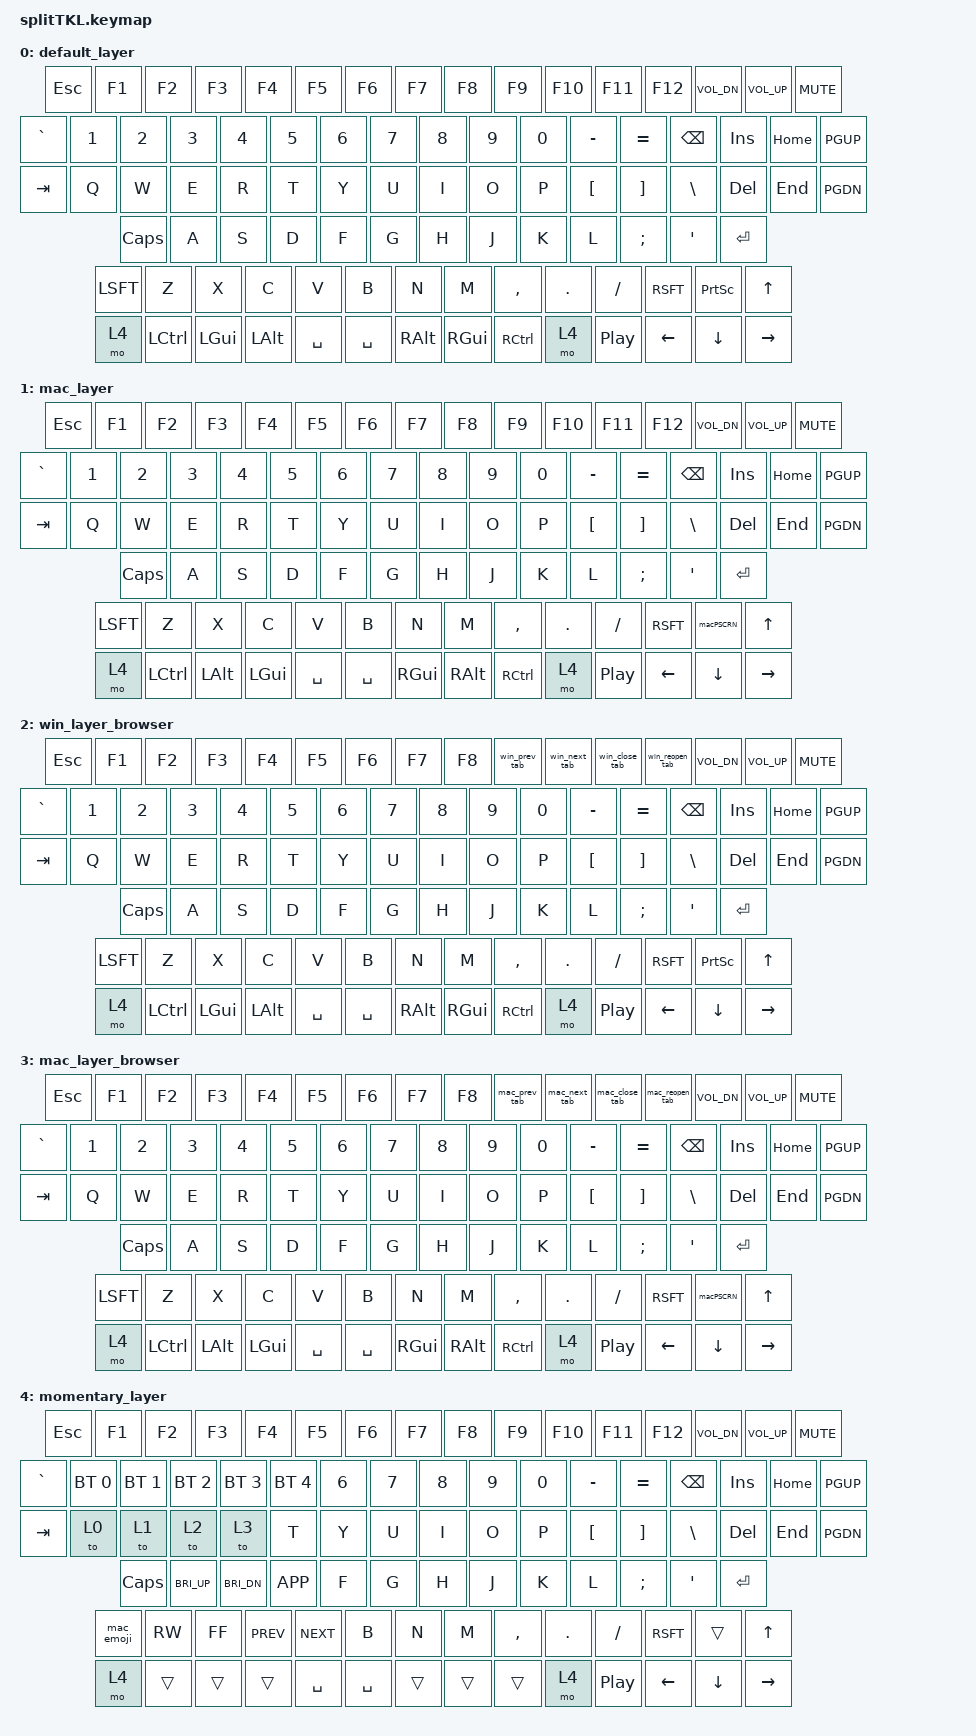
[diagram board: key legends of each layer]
#include <behaviors.dtsi>
#include <dt-bindings/zmk/keys.h>
#include <dt-bindings/zmk/bt.h>

/ {
  macros {
    macPSCRN: macPSCRN {
      compatible = "zmk,behavior-macro";      // Macro behavior
      #binding-cells = <0>;                   // No parameters
      bindings
        = <&macro_press &kp LSHIFT &kp LGUI>
        , <&macro_tap   &kp N3>
        , <&macro_release &kp LSHIFT &kp LGUI>
        ;
    };
    
    mac_emoji: mac_emoji {
      compatible = "zmk,behavior-macro";
      #binding-cells = <0>;
      bindings = 
        <&macro_press   &kp LCTRL  &kp LGUI>
        , <&macro_tap     &kp SPACE>
        , <&macro_release &kp LCTRL  &kp LGUI>
        ;
    };

    mac_prev_tab: mac_prev_tab {
      compatible = "zmk,behavior-macro";
      #binding-cells = <0>;
      bindings = 
        <&macro_press    &kp LGUI  &kp LSFT>
        , <&macro_tap      &kp LBKT>
        , <&macro_release  &kp LSFT  &kp LGUI>
        ;
    };

    mac_next_tab: mac_next_tab {
      compatible = "zmk,behavior-macro";
      #binding-cells = <0>;
      bindings = 
        <&macro_press    &kp LGUI  &kp LSFT>
        , <&macro_tap      &kp RBKT>
        , <&macro_release  &kp LSFT  &kp LGUI>
        ;
    };

    mac_close_tab: mac_close_tab {
      compatible = "zmk,behavior-macro";
      #binding-cells = <0>;
      bindings = 
        <&macro_press    &kp LGUI>
        , <&macro_tap      &kp W>
        , <&macro_release  &kp LGUI>
        ;
    };

    mac_reopen_tab: mac_reopen_tab {
      compatible = "zmk,behavior-macro";
      #binding-cells = <0>;
      bindings = 
        <&macro_press    &kp LGUI  &kp LSFT>
        , <&macro_tap      &kp T>
        , <&macro_release  &kp LSFT  &kp LGUI>
        ;
    };

    win_prev_tab: win_prev_tab {
      compatible = "zmk,behavior-macro";
      #binding-cells = <0>;
      bindings =
        <&macro_press    &kp LCTRL &kp LSFT>
        , <&macro_tap      &kp TAB>
        , <&macro_release  &kp LSFT  &kp LCTRL>
        ;
    };

    win_next_tab: win_next_tab {
      compatible = "zmk,behavior-macro";
      #binding-cells = <0>;
      bindings = 
        <&macro_press    &kp LCTRL>
        , <&macro_tap      &kp TAB>
        , <&macro_release  &kp LCTRL>
        ;
    };

    win_close_tab: win_close_tab {
      compatible = "zmk,behavior-macro";
      #binding-cells = <0>;
      bindings = 
        <&macro_press    &kp LCTRL>
        , <&macro_tap      &kp W>
        , <&macro_release  &kp LCTRL>
        ;
    };

    win_reopen_tab: win_reopen_tab {
      compatible = "zmk,behavior-macro";
      #binding-cells = <0>;
      bindings =
        <&macro_press    &kp LCTRL  &kp LSFT>
        , <&macro_tap      &kp T>
        , <&macro_release  &kp LSFT  &kp LCTRL>
        ;
    };
  };
};

/ {
        keymap {
                compatible = "zmk,keymap";

                default_layer {
// 0. WINDOWS SETTINGS. Normal Fn. 
// ------------------------------------------------------------------------------------------------------------------------------------------------------------------------------
// | ESC   |   | F1    | F2    | F3    | F4    |   | F5    |                    | F6    | F7    | F8    |       |  F9   | F10   | F11   | F12   |       | Vol-  | Vol+  | Mute  |
// ---------------------------------------------------------                    -----------------------------------------------------------------       -------------------------
// | `     | 1     | 2     | 3     | 4     | 5     |  6    |                    | 7     | 8     | 9     | 0     | -     | =     |     BSPC      |       |  Ins  | Home  | PgUp  |
// |      Tab      |  Q    |  W    |  E    |  R    |  T    |                    |  Y    |  U    |  I    |  O    |  P    | [     | ]     |  \    |       |  Del  |  End  | PgDn  |
// |      Caps     |  A    |  S    |  D    |  F    |  G    |                    |  H    |  J    |  K    |  L    |  ;    |  '    |     Enter     |       |                       |
// |     Shift     |  Z    |  X    |  C    |  V    |  B    |                    |  N    |  M    |  ,    |  .    |  /    |     Shift     | PrtSc |       |       |   ↑   |       |
// |  MO   |   Ctrl  |   Win   |   Alt   |      Space      |                    |      Space    |   Alt   |   Win   |   Ctrl  |    MO   | Pause |       |  ←    |   ↓   |    →  |
// ------------------------------------------------------------------------------------------------------------------------------------------------------------------------------
                        bindings = <
     &kp ESC   &kp F1    &kp F2    &kp F3    &kp F4    &kp F5                   &kp F6    &kp F7    &kp F8    &kp F9    &kp F10   &kp F11   &kp F12                   &kp C_VOL_DN  &kp C_VOL_UP  &kp C_MUTE
     &kp GRAVE &kp N1     &kp N2     &kp N3     &kp N4     &kp N5     &kp N6          &kp N7     &kp N8     &kp N9     &kp N0     &kp MINUS &kp EQUAL &kp BSPC                  &kp INS   &kp HOME  &kp PGUP
     &kp TAB   &kp Q     &kp W     &kp E     &kp R     &kp T                    &kp Y     &kp U     &kp I     &kp O     &kp P     &kp LBKT  &kp RBKT  &kp BSLH        &kp DEL   &kp END   &kp PGDN
     &kp CAPS  &kp A     &kp S     &kp D     &kp F     &kp G                    &kp H     &kp J     &kp K     &kp L     &kp SEMI  &kp SQT   &kp RET
     &kp LSFT  &kp Z     &kp X     &kp C     &kp V     &kp B                    &kp N     &kp M     &kp COMMA &kp DOT   &kp FSLH  &kp RSFT  &kp PSCRN                            &kp UP
     &mo 4     &kp LCTL  &kp LGUI  &kp LALT  &kp SPACE                          &kp SPACE &kp RALT  &kp RGUI  &kp RCTL  &mo 4     &kp C_PP                            &kp LEFT  &kp DOWN  &kp RIGHT
                        >;
                };
                
                mac_layer {
// 1. MAC SETTINGS. Normal Fn. 
// ------------------------------------------------------------------------------------------------------------------------------------------------------------------------------
// | ESC   |   | F1    | F2    | F3    | F4    |   | F5    |                    | F6    | F7    | F8    |       |  F9   | F10   | F11   | F12   |       | Vol-  | Vol+  | Mute  |
// ---------------------------------------------------------                    -----------------------------------------------------------------       -------------------------
// | `     | 1     | 2     | 3     | 4     | 5     |  6    |                    | 7     | 8     | 9     | 0     | -     | =     |     BSPC      |       |  Ins  | Home  | PgUp  |
// |      Tab      |  Q    |  W    |  E    |  R    |  T    |                    |  Y    |  U    |  I    |  O    |  P    | [     | ]     |  \    |       |  Del  |  End  | PgDn  |
// |      Caps     |  A    |  S    |  D    |  F    |  G    |                    |  H    |  J    |  K    |  L    |  ;    |  '    |     Enter     |       |                       |
// |     Shift     |  Z    |  X    |  C    |  V    |  B    |                    |  N    |  M    |  ,    |  .    |  /    |     Shift     | PrtSc |       |       |   ↑   |       |
// |  MO   |   Ctrl  |   Opt   |   Com   |      Space      |                    |      Space    |   Com   |   Opt   |   Ctrl  |    MO   | Pause |       |  ←    |   ↓   |    →  |
// ------------------------------------------------------------------------------------------------------------------------------------------------------------------------------
                        bindings = <
     &kp ESC   &kp F1    &kp F2    &kp F3    &kp F4    &kp F5                   &kp F6    &kp F7    &kp F8    &kp F9    &kp F10   &kp F11   &kp F12                   &kp C_VOL_DN  &kp C_VOL_UP  &kp C_MUTE
     &kp GRAVE &kp N1     &kp N2     &kp N3     &kp N4     &kp N5     &kp N6          &kp N7     &kp N8     &kp N9     &kp N0     &kp MINUS &kp EQUAL &kp BSPC                  &kp INS   &kp HOME  &kp PGUP
     &kp TAB   &kp Q     &kp W     &kp E     &kp R     &kp T                    &kp Y     &kp U     &kp I     &kp O     &kp P     &kp LBKT  &kp RBKT  &kp BSLH        &kp DEL   &kp END   &kp PGDN
     &kp CAPS  &kp A     &kp S     &kp D     &kp F     &kp G                    &kp H     &kp J     &kp K     &kp L     &kp SEMI  &kp SQT   &kp RET
     &kp LSFT  &kp Z     &kp X     &kp C     &kp V     &kp B                    &kp N     &kp M     &kp COMMA &kp DOT   &kp FSLH  &kp RSFT  &macPSCRN                            &kp UP
     &mo 4     &kp LCTL  &kp LALT  &kp LGUI  &kp SPACE                          &kp SPACE &kp RGUI  &kp RALT  &kp RCTL  &mo 4     &kp C_PP                            &kp LEFT  &kp DOWN  &kp RIGHT
                        >;
                };

                win_layer_browser {
// 2. WINDOWS SETTINGS. Browser Fn. 
// ------------------------------------------------------------------------------------------------------------------------------------------------------------------------------
// | ESC   |   | F1    | F2    | F3    | F4    |   | F5    |                    | F6    | F7    | F8    |       |prevtab|nexttab|clostab|reopent|       | Vol-  | Vol+  | Mute  |
// ---------------------------------------------------------                    -----------------------------------------------------------------       -------------------------
// | `     | 1     | 2     | 3     | 4     | 5     |  6    |                    | 7     | 8     | 9     | 0     | -     | =     |     BSPC      |       |  Ins  | Home  | PgUp  |
// |      Tab      |  Q    |  W    |  E    |  R    |  T    |                    |  Y    |  U    |  I    |  O    |  P    | [     | ]     |  \    |       |  Del  |  End  | PgDn  |
// |      Caps     |  A    |  S    |  D    |  F    |  G    |                    |  H    |  J    |  K    |  L    |  ;    |  '    |     Enter     |       |                       |
// |     Shift     |  Z    |  X    |  C    |  V    |  B    |                    |  N    |  M    |  ,    |  .    |  /    |     Shift     | PrtSc |       |       |   ↑   |       |
// |  MO   |   Ctrl  |   Win   |   Alt   |      Space      |                    |      Space    |   Alt   |   Win   |   Ctrl  |    MO   | Pause |       |  ←    |   ↓   |    →  |
// ------------------------------------------------------------------------------------------------------------------------------------------------------------------------------
                        bindings = <
     &kp ESC   &kp F1    &kp F2    &kp F3    &kp F4    &kp F5                   &kp F6    &kp F7    &kp F8    &win_prev_tab  &win_next_tab  &win_close_tab  &win_reopen_tab                   &kp C_VOL_DN  &kp C_VOL_UP  &kp C_MUTE
     &kp GRAVE &kp N1     &kp N2     &kp N3     &kp N4     &kp N5     &kp N6          &kp N7     &kp N8     &kp N9     &kp N0     &kp MINUS &kp EQUAL &kp BSPC                  &kp INS   &kp HOME  &kp PGUP
     &kp TAB   &kp Q     &kp W     &kp E     &kp R     &kp T                    &kp Y     &kp U     &kp I     &kp O     &kp P     &kp LBKT  &kp RBKT  &kp BSLH        &kp DEL   &kp END   &kp PGDN
     &kp CAPS  &kp A     &kp S     &kp D     &kp F     &kp G                    &kp H     &kp J     &kp K     &kp L     &kp SEMI  &kp SQT   &kp RET
     &kp LSFT  &kp Z     &kp X     &kp C     &kp V     &kp B                    &kp N     &kp M     &kp COMMA &kp DOT   &kp FSLH  &kp RSFT  &kp PSCRN                            &kp UP
     &mo 4     &kp LCTL  &kp LGUI  &kp LALT  &kp SPACE                          &kp SPACE &kp RALT  &kp RGUI  &kp RCTL  &mo 4     &kp C_PP                            &kp LEFT  &kp DOWN  &kp RIGHT
                        >;
                };
                
                mac_layer_browser {
// 3. MAC SETTINGS. Browser Fn. 
// ------------------------------------------------------------------------------------------------------------------------------------------------------------------------------
// | ESC   |   | F1    | F2    | F3    | F4    |   | F5    |                    | F6    | F7    | F8    |       |prevtab|nexttab|clostab|reopent|       | Vol-  | Vol+  | Mute  |
// ---------------------------------------------------------                    -----------------------------------------------------------------       -------------------------
// | `     | 1     | 2     | 3     | 4     | 5     |  6    |                    | 7     | 8     | 9     | 0     | -     | =     |     BSPC      |       |  Ins  | Home  | PgUp  |
// |      Tab      |  Q    |  W    |  E    |  R    |  T    |                    |  Y    |  U    |  I    |  O    |  P    | [     | ]     |  \    |       |  Del  |  End  | PgDn  |
// |      Caps     |  A    |  S    |  D    |  F    |  G    |                    |  H    |  J    |  K    |  L    |  ;    |  '    |     Enter     |       |                       |
// |     Shift     |  Z    |  X    |  C    |  V    |  B    |                    |  N    |  M    |  ,    |  .    |  /    |     Shift     | PrtSc |       |       |   ↑   |       |
// |  MO   |   Ctrl  |   Opt   |   Com   |      Space      |                    |      Space    |   Com   |   Opt   |   Ctrl  |    MO   | Pause |       |  ←    |   ↓   |    →  |
// ------------------------------------------------------------------------------------------------------------------------------------------------------------------------------
                        bindings = <
     &kp ESC   &kp F1    &kp F2    &kp F3    &kp F4    &kp F5                   &kp F6    &kp F7    &kp F8    &mac_prev_tab   &mac_next_tab  &mac_close_tab  &mac_reopen_tab                   &kp C_VOL_DN  &kp C_VOL_UP  &kp C_MUTE
     &kp GRAVE &kp N1     &kp N2     &kp N3     &kp N4     &kp N5     &kp N6          &kp N7     &kp N8     &kp N9     &kp N0     &kp MINUS &kp EQUAL &kp BSPC                  &kp INS   &kp HOME  &kp PGUP
     &kp TAB   &kp Q     &kp W     &kp E     &kp R     &kp T                    &kp Y     &kp U     &kp I     &kp O     &kp P     &kp LBKT  &kp RBKT  &kp BSLH        &kp DEL   &kp END   &kp PGDN
     &kp CAPS  &kp A     &kp S     &kp D     &kp F     &kp G                    &kp H     &kp J     &kp K     &kp L     &kp SEMI  &kp SQT   &kp RET
     &kp LSFT  &kp Z     &kp X     &kp C     &kp V     &kp B                    &kp N     &kp M     &kp COMMA &kp DOT   &kp FSLH  &kp RSFT  &macPSCRN                            &kp UP
     &mo 4     &kp LCTL  &kp LALT  &kp LGUI  &kp SPACE                          &kp SPACE &kp RGUI  &kp RALT  &kp RCTL  &mo 4     &kp C_PP                            &kp LEFT  &kp DOWN  &kp RIGHT
                        >;
                };

                momentary_layer {
// 4. TEMP LAYER
// ------------------------------------------------------------------------------------------------------------------------------------------------------------------------------
// | ESC   |   | F1    | F2    | F3    | F4    |   | F5    |                    | F6    | F7    | F8    |       |  F9   | F10   | F11   | F12   |       | Vol-  | Vol+  | Mute  |
// ---------------------------------------------------------                    -----------------------------------------------------------------       -------------------------
// | `     | bt0   | bt1   | bt2   | bt3   | bt4   |  6    |                    | 7     | 8     | 9     | 0     | -     | =     |     BSPC      |       |  Ins  | Home  | PgUp  |
// |      Tab      |  to0  |  to1  |  to2  |  to3  |  T    |                    |  Y    |  U    |  I    |  O    |  P    | [     | ]     |  \    |       |  Del  |  End  | PgDn  |
// |      Caps     |C_BRI_UP|C_BRI_DN|K_APP|  F    |  G    |                    |  H    |  J    |  K    |  L    |  ;    |  '    |     Enter     |       |                       |
// |   mac_emoji   |C_RW   | C_FF  |C_PREV |C_NEXT |  B    |                    |  N    |  M    |  ,    |  .    |  /    |     Shift     | trans |       |       |   ↑   |       |
// |  MO   |  trans  |  trans   |  trans  |     Space      |                    |      Space    |  trans   |  trans  |  trans |    MO   | Pause |       |  ←    |   ↓   |    →  |
// ------------------------------------------------------------------------------------------------------------------------------------------------------------------------------


                        bindings = <
     &kp ESC   &kp F1    &kp F2    &kp F3    &kp F4    &kp F5                                         &kp F6    &kp F7    &kp F8    &kp F9    &kp F10   &kp F11   &kp F12                   &kp C_VOL_DN  &kp C_VOL_UP  &kp C_MUTE
     &kp GRAVE &bt BT_SEL 0  &bt BT_SEL 1  &bt BT_SEL 2  &bt BT_SEL 3  &bt BT_SEL 4     &kp N6         &kp N7     &kp N8     &kp N9     &kp N0     &kp MINUS &kp EQUAL &kp BSPC                  &kp INS   &kp HOME  &kp PGUP
     &kp TAB   &to 0     &to 1     &to 2     &to 3     &kp T                                          &kp Y     &kp U     &kp I     &kp O     &kp P     &kp LBKT  &kp RBKT  &kp BSLH        &kp DEL   &kp END   &kp PGDN
     &kp CAPS  &kp C_BRI_UP  &kp C_BRI_DN  &kp K_APP     &kp F     &kp G                                          &kp H     &kp J     &kp K     &kp L     &kp SEMI  &kp SQT   &kp RET
     &mac_emoji  &kp C_RW     &kp C_FF     &kp C_PREV     &kp C_NEXT     &kp B                                          &kp N     &kp M     &kp COMMA &kp DOT   &kp FSLH  &kp RSFT  &trans                              &kp UP
     &mo 4     &trans    &trans    &trans    &kp SPACE                                                &kp SPACE &trans    &trans    &trans    &mo 4     &kp C_PP                            &kp LEFT  &kp DOWN  &kp RIGHT
                        >;
                };
        };
};
